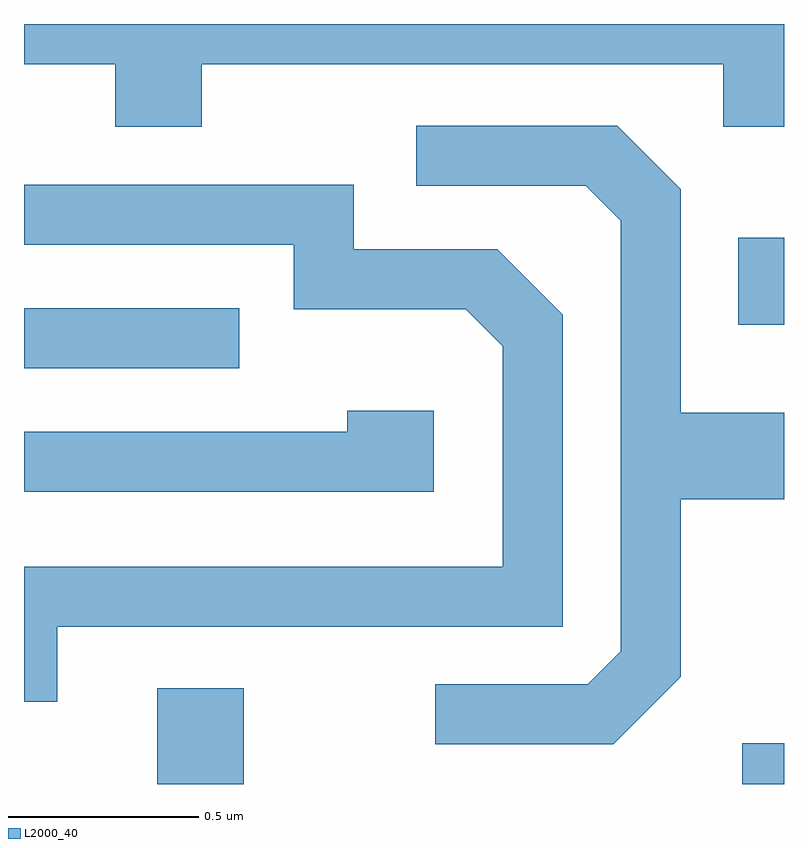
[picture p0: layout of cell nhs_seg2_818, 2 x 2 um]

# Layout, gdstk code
import gdstk
lib = gdstk.Library(unit=1e-6, precision=1e-09)
def R(c, l, rs):  # rectangles x0, y0, x1, y1
    for r in rs: c.add(gdstk.rectangle(r[:2], r[2:], *l))
def P(c, l, *ps):  # polygons
    for p in ps: c.add(gdstk.Polygon(p, *l))
L2000_40 = (2000, 40)

nhs_seg2_818 = lib.new_cell('nhs_seg2_818')
R(nhs_seg2_818, L2000_40, [(190.961,1110.802,191.189,1111.054), (192.501,1110.802,192.611,1110.909), (190.611,1111.896,191.178,1112.054), (192.491,1112.011,192.611,1112.239)])
P(nhs_seg2_818, L2000_40, [(191.079,1112.696),(192.451,1112.696),(192.451,1112.531),(192.611,1112.531),(192.611,1112.802),(190.611,1112.802),(190.611,1112.696),(190.851,1112.696),(190.851,1112.531),(191.079,1112.531)],
  [(192.339,1111.084),(192.339,1111.551),(192.611,1111.551),(192.611,1111.779),(192.339,1111.779),(192.339,1112.367),(192.172,1112.534),(191.643,1112.534),(191.643,1112.376),(192.089,1112.376),(192.181,1112.284),(192.181,1111.152),(192.094,1111.064),(191.693,1111.064),(191.693,1110.906),(192.162,1110.906)],
  [(190.699,1111.216),(192.029,1111.216),(192.029,1112.037),(191.857,1112.209),(191.479,1112.209),(191.479,1112.379),(190.611,1112.379),(190.611,1112.221),(191.321,1112.221),(191.321,1112.051),(191.774,1112.051),(191.871,1111.954),(191.871,1111.374),(190.611,1111.374),(190.611,1111.018),(190.699,1111.018)],
  [(191.689,1111.784),(191.461,1111.784),(191.461,1111.729),(190.611,1111.729),(190.611,1111.571),(191.689,1111.571)])

lib.write_gds('nhs_seg2_818.gds')
